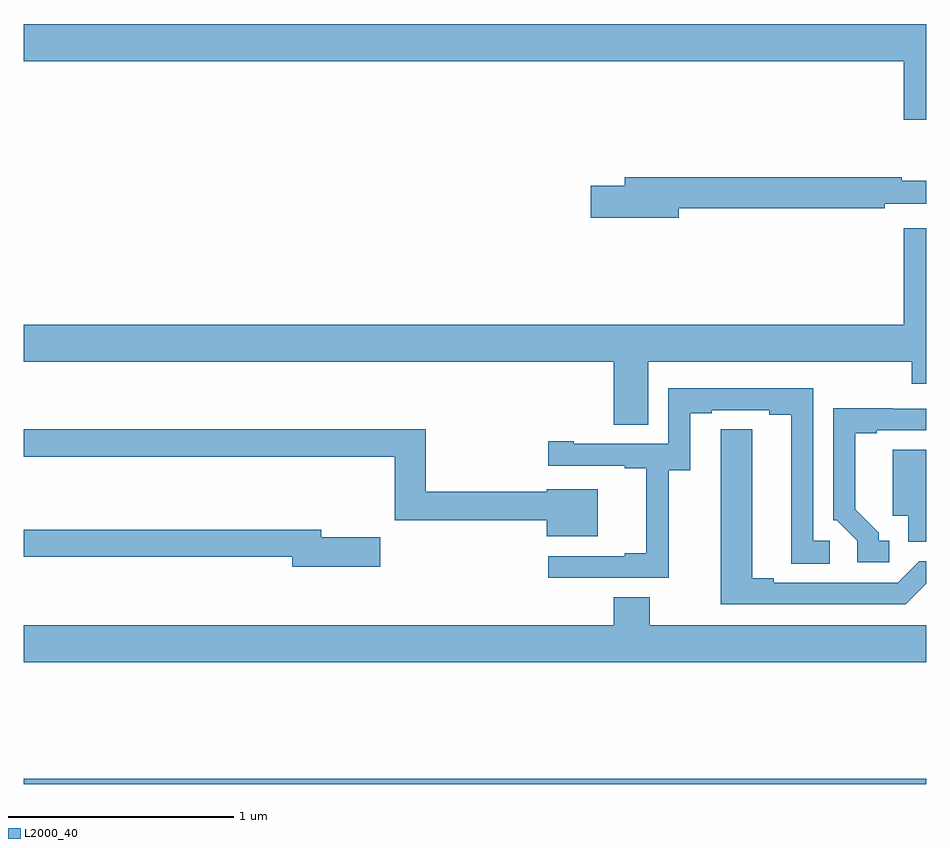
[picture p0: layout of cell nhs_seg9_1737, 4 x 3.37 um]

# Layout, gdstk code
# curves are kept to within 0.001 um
import gdstk
lib = gdstk.Library(unit=1e-6, precision=1e-09)
def R(c, l, rs):  # rectangles x0, y0, x1, y1
    for r in rs: c.add(gdstk.rectangle(r[:2], r[2:], *l))
def P(c, l, *ps):  # polygons
    for p in ps: c.add(gdstk.Polygon(p, *l))
L2000_40 = (2000, 40)

nhs_seg9_1737 = lib.new_cell('nhs_seg9_1737')
R(nhs_seg9_1737, L2000_40, [(207,1242.5,211,1242.524)])
P(nhs_seg9_1737, L2000_40, [(211,1245.868),(207,1245.868),(207,1245.704),(210.901,1245.704),(210.901,1245.444),(211,1245.444)],
  [(209.902,1245.052),(210.815,1245.052),(210.815,1245.072),(211,1245.072),(211,1245.173),(210.892,1245.173),(210.892,1245.188),(209.663,1245.188),(209.663,1245.152),(209.514,1245.152),(209.514,1245.01),(209.902,1245.01)],
  [(209.767,1244.372),(210.935,1244.372),(210.935,1244.274),(211,1244.274),(211,1244.962),(210.899,1244.962),(210.899,1244.536),(207,1244.536),(207,1244.372),(209.615,1244.372),(209.615,1244.092),(209.767,1244.092)],
  [(209.859,1243.891),(209.953,1243.891),(209.953,1244.142),(210.049,1244.142),(210.049,1244.157),(210.305,1244.157),(210.305,1244.137),(210.401,1244.137),(210.401,1243.477),(210.571,1243.477),(210.571,1243.578),(210.498,1243.578),(210.498,1244.253),(209.856,1244.253),(209.856,1244.007),(209.437,1244.007),(209.437,1244.02),(209.325,1244.02),(209.325,1243.911),(209.663,1243.911),(209.663,1243.899),(209.759,1243.899),(209.759,1243.522),(209.663,1243.522),(209.663,1243.509),(209.325,1243.509),(209.325,1243.413),(209.859,1243.413)],
  [(210.835,1243.578),(210.79,1243.578),(210.79,1243.613),(210.685,1243.718),(210.685,1244.055),(210.781,1244.055),(210.781,1244.067),(211,1244.067),(211,1244.163),(210.851,1244.163),(210.851,1244.165),(210.588,1244.165),(210.588,1243.668),(210.603,1243.668),(210.693,1243.578),(210.693,1243.482),(210.835,1243.482)],
  [(211,1243.387),(211,1243.488),(210.969,1243.488),(210.873,1243.392),(210.325,1243.392),(210.325,1243.412),(210.229,1243.412),(210.229,1244.072),(210.09,1244.072),(210.089,1243.296),(210.909,1243.296)],
  [(209.545,1243.807),(209.318,1243.807),(209.318,1243.796),(208.781,1243.796),(208.781,1244.071),(207,1244.071),(207,1243.95),(208.645,1243.95),(208.645,1243.668),(209.318,1243.668),(209.318,1243.598),(209.545,1243.598)],
  [(211,1243.982),(210.851,1243.982),(210.851,1243.688),(210.92,1243.688),(210.92,1243.573),(211,1243.573)],
  [(208.579,1243.593),(208.318,1243.593),(208.318,1243.627),(207,1243.627),(207,1243.506),(208.19,1243.506),(208.19,1243.463),(208.579,1243.463)],
  [(211,1243.204),(209.775,1243.204),(209.775,1243.328),(209.615,1243.328),(209.615,1243.204),(207,1243.204),(207,1243.04),(211,1243.04)])

lib.write_gds('nhs_seg9_1737.gds')
